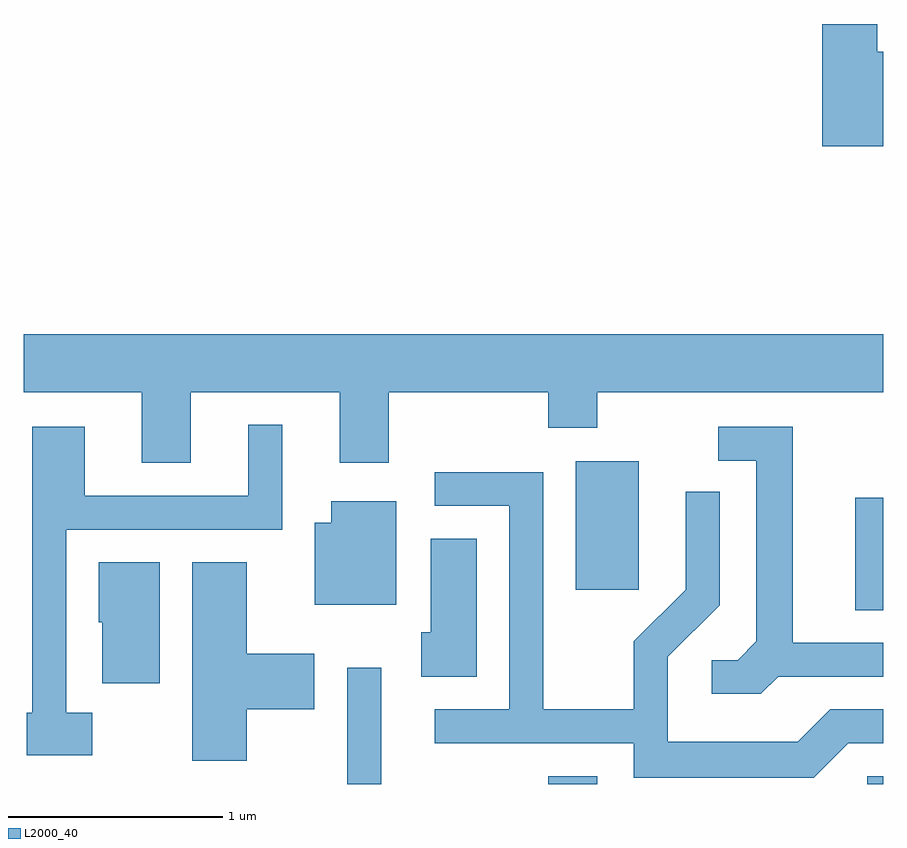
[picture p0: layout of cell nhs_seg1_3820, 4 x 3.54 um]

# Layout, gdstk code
import gdstk
lib = gdstk.Library(unit=1e-6, precision=1e-09)
def R(c, l, rs):  # rectangles x0, y0, x1, y1
    for r in rs: c.add(gdstk.rectangle(r[:2], r[2:], *l))
def P(c, l, *ps):  # polygons
    for p in ps: c.add(gdstk.Polygon(p, *l))
L2000_40 = (2000, 40)

nhs_seg1_3820 = lib.new_cell('nhs_seg1_3820')
R(nhs_seg1_3820, L2000_40, [(301.116,937.712,301.274,938.253), (302.051,937.712,302.279,937.749), (303.536,937.712,303.611,937.749), (303.481,938.521,303.611,939.044), (302.181,938.616,302.474,939.214)])
P(nhs_seg1_3820, L2000_40, [(303.611,941.119),(303.584,941.119),(303.584,941.249),(303.326,941.249),(303.326,940.681),(303.611,940.681)],
  [(300.389,939.536),(301.081,939.536),(301.081,939.206),(301.309,939.206),(301.309,939.536),(302.051,939.536),(302.051,939.371),(302.279,939.371),(302.279,939.536),(303.611,939.536),(303.611,939.804),(299.611,939.804),(299.611,939.536),(300.161,939.536),(300.161,939.206),(300.389,939.206)],
  [(299.929,938.044),(299.809,938.044),(299.809,938.896),(300.814,938.896),(300.814,939.383),(300.656,939.383),(300.656,939.054),(299.894,939.054),(299.894,939.374),(299.651,939.374),(299.651,938.044),(299.626,938.044),(299.626,937.846),(299.929,937.846)],
  [(303.122,938.211),(303.611,938.211),(303.611,938.369),(303.189,938.369),(303.189,939.374),(302.843,939.374),(302.843,939.216),(303.021,939.216),(303.021,938.377),(302.934,938.289),(302.813,938.289),(302.813,938.131),(303.042,938.131)],
  [(303.447,937.901),(303.611,937.901),(303.611,938.059),(303.364,938.059),(303.214,937.909),(302.609,937.909),(302.609,938.304),(302.849,938.544),(302.849,939.073),(302.691,939.073),(302.691,938.617),(302.451,938.377),(302.451,938.059),(302.029,938.059),(302.029,939.164),(301.523,939.164),(301.523,939.006),(301.871,939.006),(301.871,938.059),(301.523,938.059),(301.523,937.901),(302.451,937.901),(302.451,937.741),(303.287,937.741)],
  [(301.344,939.029),(301.041,939.029),(301.041,938.929),(300.966,938.929),(300.966,938.546),(301.344,938.546)],
  [(301.719,938.854),(301.506,938.854),(301.506,938.419),(301.461,938.419),(301.461,938.211),(301.719,938.211)],
  [(300.244,938.744),(299.961,938.744),(299.961,938.465),(299.976,938.465),(299.976,938.181),(300.244,938.181)],
  [(300.649,938.061),(300.964,938.061),(300.964,938.319),(300.649,938.319),(300.649,938.744),(300.396,938.744),(300.396,937.821),(300.649,937.821)])

lib.write_gds('nhs_seg1_3820.gds')
